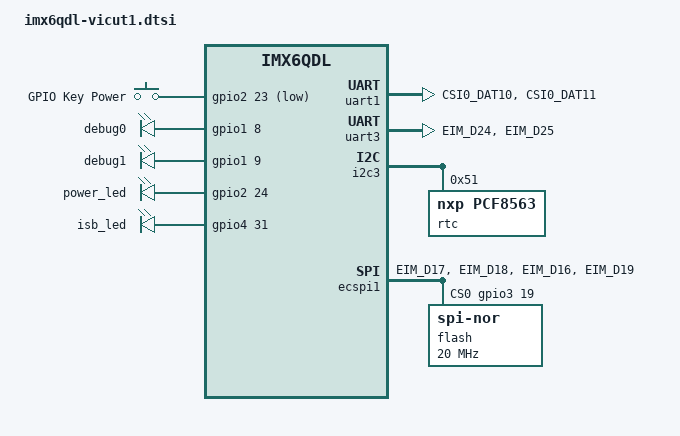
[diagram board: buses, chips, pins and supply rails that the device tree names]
// SPDX-License-Identifier: GPL-2.0-or-later
/*
 * Copyright (c) 2014 Protonic Holland
 */

#include "imx6qdl-prti6q.dtsi"
#include "imx6qdl-prti6q-nor.dtsi"
#include <dt-bindings/input/input.h>

/ {
	gpio_key_pwr: gpio_keys {
		compatible = "gpio-keys";
		autorepeat;

		power {
			label = "GPIO Key Power";
			gpios = <&gpio2 23 GPIO_ACTIVE_LOW>;
			linux,code = <KEY_POWER>;
			gpio-key,wakeup;
		};
	};

	leds {
		compatible = "gpio-leds";
		pinctrl-names = "default";
		pinctrl-0 = <&pinctrl_leds>;

		debug0 {
			label = "debug0";
			gpios = <&gpio1 8 0>;
			linux,default-trigger = "heartbeat";
		};

		debug1 {
			label = "debug1";
			gpios = <&gpio1 9 0>;
			linux,default-trigger = "mmc";
		};

		power_led {
			label = "power_led";
			gpios = <&gpio2 24 0>;
			default-state = "on";
		};

		isb_led {
			label = "isb_led";
			gpios = <&gpio4 31 0>;
			default-state = "off";
		};
	};
};

&clks {
	assigned-clocks = <&clks IMX6QDL_CLK_LDB_DI0_SEL>;
	assigned-clock-parents = <&clks IMX6QDL_CLK_PLL5_VIDEO_DIV>;
};

&uart1 {
	pinctrl-names = "default";
	pinctrl-0 = <&pinctrl_uart1>;
	status = "okay";
};

&uart3 {
	pinctrl-names = "default";
	pinctrl-0 = <&pinctrl_uart3>;
	status = "okay";
};

&i2c3 {
	rtc: pcf8563@51 {
		compatible = "nxp,pcf8563";
		reg = <0x51>;
	};
};

&ecspi1 {
	cs-gpios = <&gpio3 19 GPIO_ACTIVE_HIGH>;
	pinctrl-names = "default";
	pinctrl-0 = <&pinctrl_ecspi1>;
	status = "okay";

	flash@0 {
		compatible = "jedec,spi-nor";
		reg = <0>;
		spi-max-frequency = <20000000>;
		#address-cells = <1>;
		#size-cells = <1>;
	};
};

&iomuxc {
	pinctrl_hog: hoggrp {
		fsl,pins = <
			/* SGTL5000 sys_mclk */
			MX6QDL_PAD_CSI0_MCLK__CCM_CLKO1		0x030b0
			/* CAN1_SR + CAN2_SR GPIO outputs */
			MX6QDL_PAD_KEY_COL3__GPIO4_IO12		0x13070
			MX6QDL_PAD_KEY_ROW3__GPIO4_IO13		0x13070
			/* CAN1_TERM */
			MX6QDL_PAD_GPIO_0__GPIO1_IO00		0x1b0b0
			/* ITU656_nRESET */
			MX6QDL_PAD_GPIO_2__GPIO1_IO02		0x1b0b0
			/* CAM1_MIRROR */
			MX6QDL_PAD_GPIO_3__GPIO1_IO03		0x130b0
			/* CAM2_MIRROR */
			MX6QDL_PAD_GPIO_4__GPIO1_IO04		0x130b0
			/* CAM_nDETECT */
			MX6QDL_PAD_GPIO_17__GPIO7_IO12		0x1b0b0
			/* nON_SWITCH */
			MX6QDL_PAD_EIM_CS0__GPIO2_IO23		0x1b0b0
			/* ISB_IN1 */
			MX6QDL_PAD_EIM_A16__GPIO2_IO22		0x130b0
			/* ISB_nIN2 */
			MX6QDL_PAD_EIM_A17__GPIO2_IO21		0x1b0b0
			/* WARN_LIGHT */
			MX6QDL_PAD_EIM_A19__GPIO2_IO19		0x100b0
			/* ON2_FB */
			MX6QDL_PAD_EIM_A25__GPIO5_IO02		0x100b0
			/* YACO_nIRQ */
			MX6QDL_PAD_EIM_D23__GPIO3_IO23		0x1b0b0
			/* YACO_BOOT0 */
			MX6QDL_PAD_EIM_D30__GPIO3_IO30		0x130b0
			/* YACO_nRESET */
			MX6QDL_PAD_EIM_D31__GPIO3_IO31		0x1b0b0
			/* FORCE_ON1 */
			MX6QDL_PAD_EIM_EB2__GPIO2_IO30		0x1b0b0
			/* AUDIO_nRESET */
			MX6QDL_PAD_CSI0_VSYNC__GPIO5_IO21	0x1f0b0
			/* ITU656_nPDN */
			MX6QDL_PAD_CSI0_DATA_EN__GPIO5_IO20	0x1b0b0

			/* HW revision detect */
			/* REV_ID0 */
			MX6QDL_PAD_SD4_DAT0__GPIO2_IO08 0x1b0b0
			/* REV_ID1 = PWM output LED_PWM (SION) */
			/* defined in &pinctrl_pwm3 */
			/* REV_ID2 */
			MX6QDL_PAD_SD4_DAT2__GPIO2_IO10 0x1b0b0
			/* REV_ID3 */
			MX6QDL_PAD_SD4_DAT3__GPIO2_IO11 0x1b0b0
			/* REV_ID4 */
			MX6QDL_PAD_SD4_DAT4__GPIO2_IO12 0x1b0b0

			/* New in HW revision 1 */
			MX6QDL_PAD_EIM_D20__GPIO3_IO20	0x100b0 /* ON1_FB */
			MX6QDL_PAD_DI0_PIN2__GPIO4_IO18 0x1b0b0 /* DIP1_FB */

			/* New in UTC (UT1 HW revision 1) and TGO */
			/* WHEEL */
			MX6QDL_PAD_NANDF_D0__GPIO2_IO00 0x100b0
			/* RADAR */
			MX6QDL_PAD_NANDF_D1__GPIO2_IO01 0x100b0
			/* PTO */
			MX6QDL_PAD_NANDF_D2__GPIO2_IO02 0x100b0
			/* CPU_ON1_CTRL */
			MX6QDL_PAD_DISP0_DAT0__GPIO4_IO21 0x1b0b0
			/* CPU_ON2_CTRL */
			MX6QDL_PAD_DISP0_DAT1__GPIO4_IO22 0x1b0b0
			/* CPU_HITCH_IN_OUT */
			MX6QDL_PAD_DISP0_DAT2__GPIO4_IO23 0x100b0
			/* CPU_LIGHT_ON */
			MX6QDL_PAD_DISP0_DAT3__GPIO4_IO24 0x100b0
			/* CPU_CONTACT_IN */
			MX6QDL_PAD_DISP0_DAT6__GPIO4_IO27 0x100b0
		>;
	};

	pinctrl_ecspi1: ecspi1grp {
		fsl,pins = <
			MX6QDL_PAD_EIM_D17__ECSPI1_MISO		0x100b1
			MX6QDL_PAD_EIM_D18__ECSPI1_MOSI		0x100b1
			MX6QDL_PAD_EIM_D16__ECSPI1_SCLK		0x100b1
			/* CS */
			MX6QDL_PAD_EIM_D19__GPIO3_IO19		0x000b1
		>;
	};

	pinctrl_usbotg: usbotggrp {
		fsl,pins = <
			MX6QDL_PAD_EIM_D21__USB_OTG_OC	0x1b0b0
			/* power enable, high active */
			MX6QDL_PAD_EIM_D22__GPIO3_IO22	0x1b0b0
		>;
	};

	/* YaCO AUX Uart */
	pinctrl_uart1: uart1grp {
		fsl,pins = <
			MX6QDL_PAD_CSI0_DAT10__UART1_TX_DATA	0x1b0b1
			MX6QDL_PAD_CSI0_DAT11__UART1_RX_DATA	0x1b0b1
		>;
	};

	/* YaCO Touchscreen UART */
	pinctrl_uart3: uart3grp {
		fsl,pins = <
			MX6QDL_PAD_EIM_D24__UART3_TX_DATA	0x1b0b1
			MX6QDL_PAD_EIM_D25__UART3_RX_DATA	0x1b0b1
		>;
	};

	pinctrl_leds: ledsgrp {
		fsl,pins = <
			/* DEBUG0A */
			MX6QDL_PAD_DI0_DISP_CLK__GPIO4_IO16	0x1b0b0
			/* DEBUG1A */
			MX6QDL_PAD_DI0_PIN15__GPIO4_IO17	0x1b0b0
			/* DEBUG0 */
			MX6QDL_PAD_GPIO_8__GPIO1_IO08		0x1b0b0
			/* DEBUG1 */
			MX6QDL_PAD_GPIO_9__GPIO1_IO09		0x1b0b0
			/* POWER_LED */
			MX6QDL_PAD_EIM_CS1__GPIO2_IO24		0x1b0b0
			/* ISB_LED */
			MX6QDL_PAD_DISP0_DAT10__GPIO4_IO31	0x1b0b0
		>;
	};

	pinctrl_pwm2: pwm2grp {
		fsl,pins = <
			/* ISB LED (not in TGO or UTC version 1+) */
			MX6QDL_PAD_DISP0_DAT9__PWM2_OUT		0x1b0b0
		>;
	};

	pinctrl_pwm3: pwm3grp {
		fsl,pins = <
			/* REV_ID1 = PWM output LED_PWM (SION for ID) */
			MX6QDL_PAD_SD4_DAT1__PWM3_OUT   0x4001b0b0
		>;
	};
};
